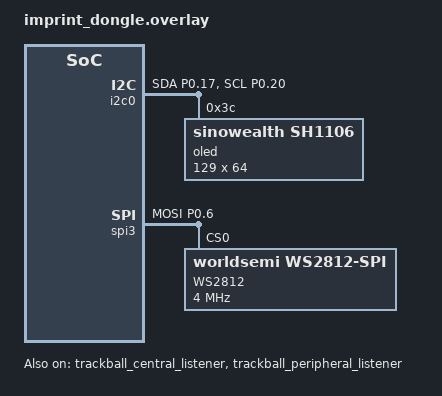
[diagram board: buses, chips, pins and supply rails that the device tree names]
/* Dongle Central: USB-connected nRF52840 with no physical keys or sensors */

#include "imprint_dongle.dtsi"
#include <dt-bindings/led/led.h>

/ {
    chosen {
        zmk,kscan = &mock_kscan;
        zephyr,display = &oled;
        zmk,underglow = &led_strip;
    };

    mock_kscan: mock_kscan {
        compatible = "zmk,kscan-mock";
        columns = <0>;
        rows = <0>;
        events = <0>;
    };
};

/* Disable the real kscan (no physical matrix on dongle, row-gpios not defined) */
&kscan0 {
    status = "disabled";
};

/* ===== OLED Display (SH1106 128x64 over I2C0) ===== */

&pinctrl {
    i2c0_default: i2c0_default {
        group1 {
            psels = <NRF_PSEL(TWIM_SDA, 0, 17)>,
                <NRF_PSEL(TWIM_SCL, 0, 20)>;
        };
    };

    i2c0_sleep: i2c0_sleep {
        group1 {
            psels = <NRF_PSEL(TWIM_SDA, 0, 17)>,
                <NRF_PSEL(TWIM_SCL, 0, 20)>;
            low-power-enable;
        };
    };
};

&i2c0 {
    status = "okay";
    compatible = "nordic,nrf-twi";
    pinctrl-0 = <&i2c0_default>;
    pinctrl-1 = <&i2c0_sleep>;

    oled: sh1106@3c {
        compatible = "sinowealth,sh1106";
        reg = <0x3c>;
        width = <129>;
        height = <64>;
        segment-offset = <1>;
        page-offset = <0>;
        display-offset = <0>;
        multiplex-ratio = <63>;
        segment-remap;
        com-invdir;
        inversion-on;
        prechargep = <0x22>;
    };
};

&trackball_central_listener {
    status = "okay";
};

&trackball_peripheral_listener {
    status = "okay";
};

/* ===== Dummy LED strip (enables &rgb_ug behavior forwarding to peripherals) ===== */

&pinctrl {
    spi3_default: spi3_default {
        group1 {
            psels = <NRF_PSEL(SPIM_MOSI, 0, 6)>;
        };
    };

    spi3_sleep: spi3_sleep {
        group1 {
            psels = <NRF_PSEL(SPIM_MOSI, 0, 6)>;
            low-power-enable;
        };
    };
};

&spi3 {
    compatible = "nordic,nrf-spim";
    status = "okay";

    pinctrl-0 = <&spi3_default>;
    pinctrl-1 = <&spi3_sleep>;
    pinctrl-names = "default", "sleep";

    led_strip: ws2812@0 {
        compatible = "worldsemi,ws2812-spi";
        label = "WS2812";

        reg = <0>;
        spi-max-frequency = <4000000>;

        chain-length = <1>;
        spi-one-frame = <0x70>;
        spi-zero-frame = <0x40>;

        color-mapping = <LED_COLOR_ID_GREEN LED_COLOR_ID_RED LED_COLOR_ID_BLUE>;
    };
};
